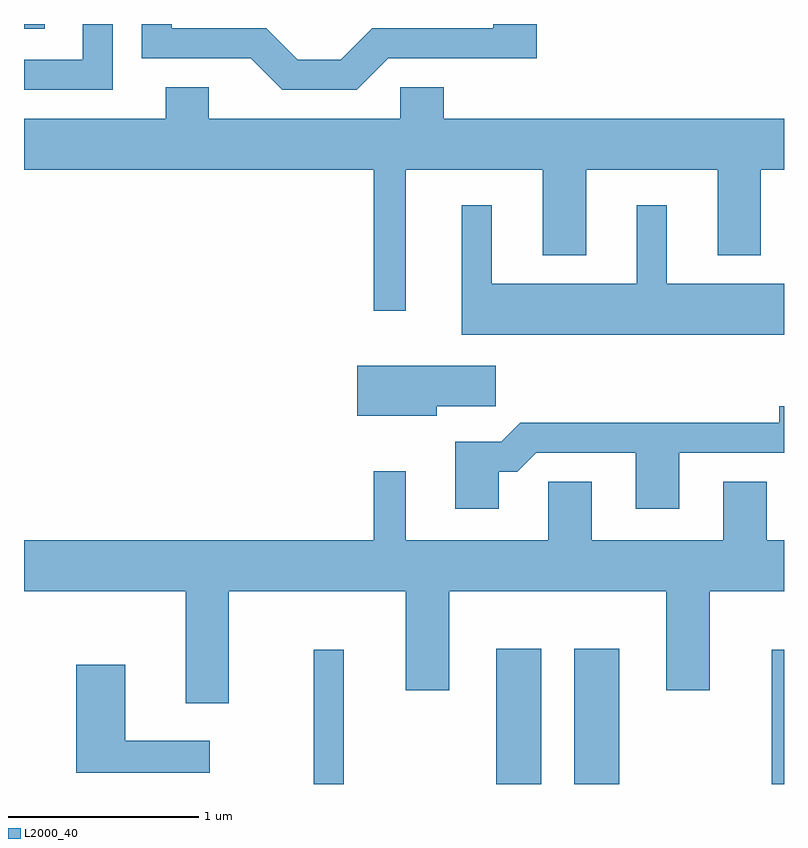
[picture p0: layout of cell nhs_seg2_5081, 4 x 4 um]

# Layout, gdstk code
import gdstk
lib = gdstk.Library(unit=1e-6, precision=1e-09)
def R(c, l, rs):  # rectangles x0, y0, x1, y1
    for r in rs: c.add(gdstk.rectangle(r[:2], r[2:], *l))
def P(c, l, *ps):  # polygons
    for p in ps: c.add(gdstk.Polygon(p, *l))
L2000_40 = (2000, 40)

nhs_seg2_5081 = lib.new_cell('nhs_seg2_5081')
R(nhs_seg2_5081, L2000_40, [(337.136,991.802,337.294,992.508), (338.096,991.802,338.334,992.514), (338.506,991.802,338.744,992.514), (339.546,991.802,339.611,992.508), (335.611,995.776,335.719,995.802)])
P(nhs_seg2_5081, L2000_40, [(336.079,995.802),(335.921,995.802),(335.921,995.614),(335.611,995.614),(335.611,995.456),(336.079,995.456)],
  [(337.527,995.621),(338.309,995.621),(338.309,995.802),(338.081,995.802),(338.081,995.779),(337.444,995.779),(337.279,995.614),(337.052,995.614),(336.887,995.779),(336.389,995.779),(336.389,995.802),(336.231,995.802),(336.231,995.621),(336.804,995.621),(336.969,995.456),(337.362,995.456)],
  [(337.619,995.036),(338.341,995.036),(338.341,994.586),(338.569,994.586),(338.569,995.036),(339.261,995.036),(339.261,994.586),(339.489,994.586),(339.489,995.036),(339.611,995.036),(339.611,995.304),(337.819,995.304),(337.819,995.469),(337.591,995.469),(337.591,995.304),(336.584,995.304),(336.584,995.469),(336.356,995.469),(336.356,995.304),(335.611,995.304),(335.611,995.036),(337.451,995.036),(337.451,994.293),(337.619,994.293)],
  [(339.611,994.434),(338.994,994.434),(338.994,994.848),(338.836,994.848),(338.836,994.434),(338.074,994.434),(338.074,994.848),(337.916,994.848),(337.916,994.166),(339.611,994.166)],
  [(337.784,993.791),(338.094,993.791),(338.094,994.004),(337.366,994.004),(337.366,993.741),(337.784,993.741)],
  [(338.109,993.446),(338.207,993.446),(338.307,993.546),(338.831,993.546),(338.831,993.251),(339.059,993.251),(339.059,993.546),(339.611,993.546),(339.611,993.789),(339.586,993.789),(339.586,993.704),(338.224,993.704),(338.124,993.604),(337.881,993.604),(337.881,993.251),(338.109,993.251)],
  [(336.689,992.816),(337.621,992.816),(337.621,992.296),(337.849,992.296),(337.849,992.816),(338.991,992.816),(338.991,992.296),(339.219,992.296),(339.219,992.816),(339.611,992.816),(339.611,993.084),(339.519,993.084),(339.519,993.394),(339.291,993.394),(339.291,993.084),(338.599,993.084),(338.599,993.394),(338.371,993.394),(338.371,993.084),(337.619,993.084),(337.619,993.448),(337.451,993.448),(337.451,993.084),(335.611,993.084),(335.611,992.816),(336.461,992.816),(336.461,992.226),(336.689,992.226)],
  [(336.588,992.029),(336.144,992.029),(336.144,992.429),(335.886,992.429),(335.886,991.861),(336.588,991.861)])

lib.write_gds('nhs_seg2_5081.gds')
